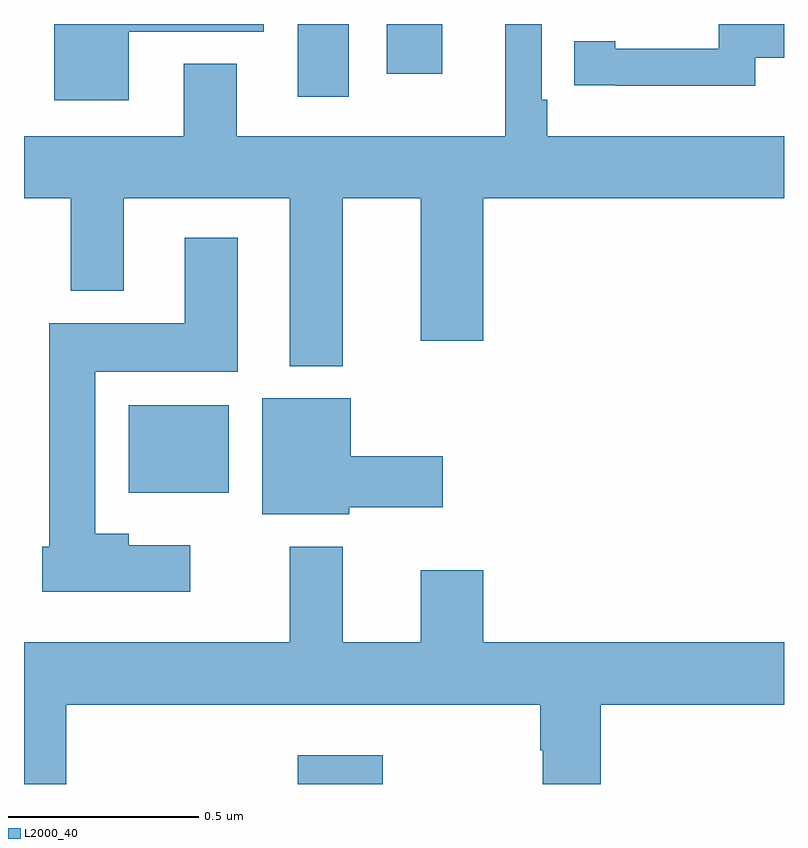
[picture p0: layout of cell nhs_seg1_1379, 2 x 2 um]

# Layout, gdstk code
import gdstk
lib = gdstk.Library(unit=1e-6, precision=1e-09)
def R(c, l, rs):  # rectangles x0, y0, x1, y1
    for r in rs: c.add(gdstk.rectangle(r[:2], r[2:], *l))
def P(c, l, *ps):  # polygons
    for p in ps: c.add(gdstk.Polygon(p, *l))
L2000_40 = (2000, 40)

nhs_seg1_1379 = lib.new_cell('nhs_seg1_1379')
R(nhs_seg1_1379, L2000_40, [(128.72,542.199,128.944,542.275), (128.276,542.966,128.539,543.196), (128.72,544.008,128.854,544.199), (128.954,544.068,129.1,544.199)])
P(nhs_seg1_1379, L2000_40, [(128.839,543.74),(129.044,543.74),(129.044,543.366),(129.208,543.366),(129.208,543.74),(130,543.74),(130,543.904),(129.377,543.904),(129.377,544),(129.363,544),(129.363,544.199),(129.266,544.199),(129.266,543.904),(128.56,543.904),(128.56,544.094),(128.42,544.094),(128.42,543.904),(128,543.904),(128,543.74),(128.123,543.74),(128.123,543.497),(128.263,543.497),(128.263,543.74),(128.699,543.74),(128.699,543.299),(128.839,543.299)],
  [(129.924,544.11),(130,544.11),(130,544.199),(129.828,544.199),(129.828,544.134),(129.556,544.134),(129.556,544.154),(129.448,544.154),(129.448,544.038),(129.556,544.038),(129.556,544.037),(129.924,544.037)],
  [(128.275,544.179),(128.631,544.179),(128.631,544.199),(128.079,544.199),(128.079,543.998),(128.275,543.998)],
  [(128.437,542.827),(128.275,542.827),(128.275,542.857),(128.188,542.857),(128.188,543.284),(128.563,543.284),(128.563,543.637),(128.423,543.637),(128.423,543.412),(128.066,543.412),(128.066,542.823),(128.048,542.823),(128.048,542.705),(128.437,542.705)],
  [(128.856,542.927),(129.102,542.927),(129.102,543.062),(128.86,543.062),(128.86,543.214),(128.627,543.214),(128.627,542.909),(128.856,542.909)],
  [(128.111,542.408),(129.358,542.408),(129.358,542.288),(129.365,542.288),(129.365,542.199),(129.518,542.199),(129.518,542.408),(130,542.408),(130,542.572),(129.208,542.572),(129.208,542.761),(129.044,542.761),(129.044,542.572),(128.839,542.572),(128.839,542.824),(128.699,542.824),(128.699,542.572),(128,542.572),(128,542.199),(128.111,542.199)])

lib.write_gds('nhs_seg1_1379.gds')
